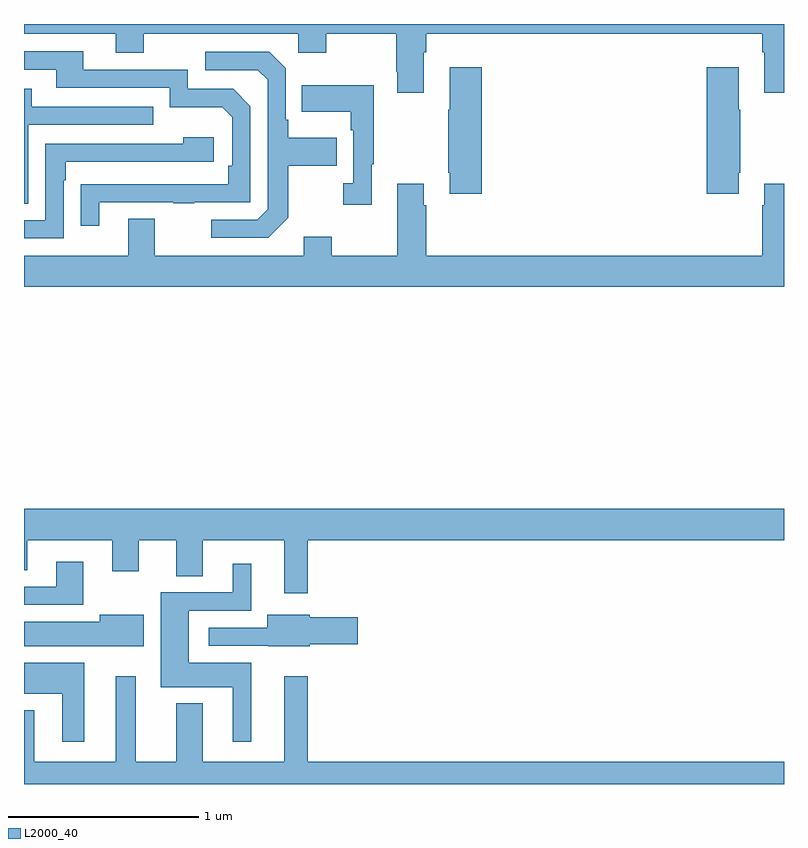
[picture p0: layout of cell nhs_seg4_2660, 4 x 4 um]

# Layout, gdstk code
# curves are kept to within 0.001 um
import gdstk
lib = gdstk.Library(unit=1e-6, precision=1e-09)
def P(c, l, *ps):  # polygons
    for p in ps: c.add(gdstk.Polygon(p, *l))
L2000_40 = (2000, 40)

nhs_seg4_2660 = lib.new_cell('nhs_seg4_2660')
P(nhs_seg4_2660, L2000_40, [(253.105,768.752),(253.118,768.752),(253.118,768.848),(254.885,768.848),(254.885,768.752),(254.897,768.752),(254.897,768.537),(255,768.537),(255,768.9),(251,768.9),(251,768.848),(251.483,768.848),(251.483,768.749),(251.631,768.749),(251.631,768.848),(252.444,768.848),(252.444,768.749),(252.591,768.749),(252.591,768.848),(252.958,768.848),(252.958,768.649),(252.965,768.649),(252.965,768.537),(253.105,768.537)],
  [(251.395,767.961),(251.785,767.961),(251.785,767.956),(251.897,767.956),(251.897,767.961),(252.192,767.961),(252.192,768.468),(252.102,768.558),(251.862,768.558),(251.862,768.66),(251.311,768.66),(251.311,768.756),(251,768.756),(251,768.66),(251.171,768.66),(251.171,768.564),(251.766,768.564),(251.766,768.461),(252.043,768.461),(252.096,768.408),(252.096,768.154),(252.076,768.154),(252.076,768.057),(251.299,768.056),(251.299,767.838),(251.395,767.838)],
  [(252.391,767.881),(252.391,768.154),(252.647,768.154),(252.647,768.301),(252.391,768.301),(252.391,768.397),(252.378,768.397),(252.378,768.666),(252.291,768.753),(251.955,768.753),(251.955,768.657),(252.231,768.657),(252.282,768.606),(252.282,767.925),(252.228,767.871),(251.985,767.871),(251.985,767.775),(252.285,767.775)],
  [(254.761,768.118),(254.769,768.118),(254.769,768.449),(254.761,768.449),(254.761,768.673),(254.594,768.673),(254.594,768.006),(254.761,768.006)],
  [(253.409,768.673),(253.241,768.673),(253.241,768.449),(253.234,768.449),(253.234,768.118),(253.241,768.118),(253.241,768.006),(253.409,768.006)],
  [(252.829,768.161),(252.841,768.161),(252.841,768.577),(252.463,768.577),(252.463,768.437),(252.72,768.437),(252.72,768.341),(252.732,768.341),(252.732,768.062),(252.681,768.062),(252.681,767.949),(252.829,767.949)],
  [(251.022,768.369),(251.681,768.369),(251.681,768.465),(251.041,768.465),(251.041,768.559),(251,768.559),(251,767.953),(251.022,767.953)],
  [(251.208,768.077),(251.221,768.077),(251.221,768.174),(251.998,768.174),(251.998,768.304),(251.837,768.304),(251.837,768.27),(251.112,768.27),(251.112,767.868),(251,767.868),(251,767.772),(251.208,767.772)],
  [(255,768.058),(254.897,768.058),(254.897,767.945),(254.885,767.945),(254.885,767.68),(253.118,767.68),(253.118,767.945),(253.105,767.945),(253.105,768.058),(252.965,768.058),(252.965,767.68),(252.621,767.68),(252.621,767.779),(252.473,767.779),(252.473,767.68),(251.689,767.68),(251.689,767.875),(251.549,767.875),(251.549,767.68),(251,767.68),(251,767.516),(255,767.516)],
  [(252.493,766.184),(255,766.184),(255,766.348),(251,766.348),(251,766.024),(251.017,766.024),(251.017,766.184),(251.465,766.184),(251.465,766.02),(251.605,766.02),(251.605,766.184),(251.801,766.184),(251.801,765.994),(251.941,765.994),(251.941,766.184),(252.371,766.184),(252.371,765.903),(252.493,765.903)],
  [(251.311,766.069),(251.171,766.069),(251.171,765.939),(251,765.939),(251,765.843),(251.311,765.843)],
  [(252.196,765.538),(251.866,765.538),(251.866,765.813),(252.196,765.813),(252.196,766.06),(252.098,766.06),(252.098,765.909),(251.72,765.909),(251.72,765.41),(252.098,765.41),(252.098,765.123),(252.196,765.123)],
  [(251.629,765.79),(251.399,765.79),(251.399,765.754),(251,765.754),(251,765.626),(251.629,765.626)],
  [(252.504,765.635),(252.757,765.635),(252.757,765.777),(252.504,765.777),(252.504,765.79),(252.281,765.79),(252.281,765.723),(251.973,765.723),(251.973,765.627),(252.285,765.627),(252.285,765.626),(252.504,765.626)],
  [(251.317,765.538),(251,765.538),(251,765.374),(251.201,765.374),(251.201,765.123),(251.317,765.123)],
  [(255,765.016),(252.493,765.016),(252.493,765.466),(252.371,765.466),(252.371,765.016),(251.941,765.016),(251.941,765.325),(251.801,765.325),(251.801,765.016),(251.587,765.016),(251.587,765.466),(251.483,765.466),(251.483,765.016),(251.053,765.016),(251.053,765.289),(251,765.289),(251,764.9),(255,764.9)])

lib.write_gds('nhs_seg4_2660.gds')
